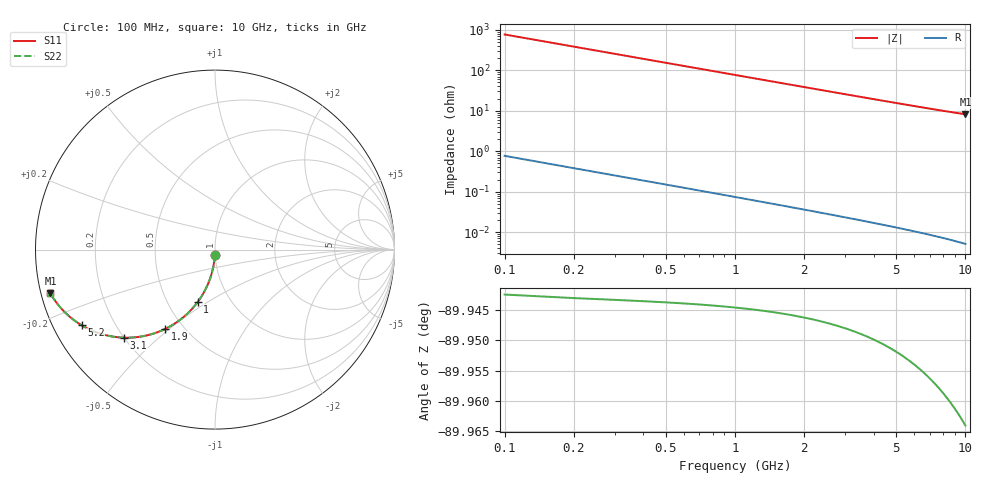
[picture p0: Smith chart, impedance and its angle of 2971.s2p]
# Hz S RI R 50.00
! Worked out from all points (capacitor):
!   100 points, 100 MHz to 10 GHz, reference 50 ohm
!   read as one part in shunt: C = 2.07 pF near 100 MHz
!   lowest |Z| = 8.19 ohm at 10 GHz (marker M1)
!   S11 on the Smith chart (normalised r, x): 100 MHz: 1.00, -0.06; 1 GHz: 0.70, -0.45; 1.9 GHz: 0.40, -0.48; 3.1 GHz: 0.20, -0.39; 5.2 GHz: 0.08, -0.26; 10 GHz: 0.03, -0.13
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1e8  -0.000978 -0.0322  0.9988 -0.0328  0.9988 -0.0328  -0.000978 -0.0322
2e8  -0.00417 -0.0643  0.9956 -0.0654  0.9956 -0.0654  -0.00417 -0.0643
3e8  -0.00943 -0.0959  0.9903 -0.0975  0.9903 -0.0975  -0.00943 -0.0959
4e8  -0.0167 -0.1269  0.9831 -0.1291  0.9831 -0.1291  -0.0167 -0.1269
5e8  -0.0258 -0.1571  0.9739 -0.1599  0.9739 -0.1599  -0.0258 -0.1571
6e8  -0.0368 -0.1864  0.963 -0.1897  0.963 -0.1897  -0.0368 -0.1864
7e8  -0.0494 -0.2146  0.9503 -0.2185  0.9503 -0.2185  -0.0494 -0.2146
8e8  -0.0636 -0.2415  0.9361 -0.246  0.9361 -0.246  -0.0636 -0.2415
1e9  -0.096 -0.2914  0.9038 -0.297  0.9038 -0.297  -0.096 -0.2914
1.2e9  -0.1326 -0.3354  0.8672 -0.3421  0.8672 -0.3421  -0.1326 -0.3354
1.4e9  -0.1722 -0.3733  0.8275 -0.3811  0.8275 -0.3811  -0.1722 -0.3733
1.8e9  -0.256 -0.4309  0.7437 -0.441  0.7437 -0.441  -0.256 -0.4309
1.9e9  -0.2771 -0.4418  0.7226 -0.4525  0.7226 -0.4525  -0.2771 -0.4418
2.5e9  -0.3992 -0.4822  0.6005 -0.4963  0.6005 -0.4963  -0.3992 -0.4822
3.1e9  -0.5057 -0.4907  0.4939 -0.5082  0.4939 -0.5082  -0.5057 -0.4907
3.4e9  -0.5519 -0.4872  0.4477 -0.5063  0.4477 -0.5063  -0.5519 -0.4872
4.2e9  -0.6533 -0.4634  0.3461 -0.4872  0.3461 -0.4872  -0.6533 -0.4634
5.1e9  -0.7361 -0.4255  0.2632 -0.4545  0.2632 -0.4545  -0.7361 -0.4255
5.2e9  -0.7437 -0.4211  0.2556 -0.4507  0.2556 -0.4507  -0.7437 -0.4211
6.7e9  -0.8293 -0.356  0.1697 -0.3945  0.1697 -0.3945  -0.8293 -0.356
8.4e9  -0.8853 -0.2927  0.1132 -0.3416  0.1132 -0.3416  -0.8853 -0.2927
1e10  -0.9171 -0.2441  0.0808 -0.303  0.0808 -0.303  -0.9171 -0.2441
